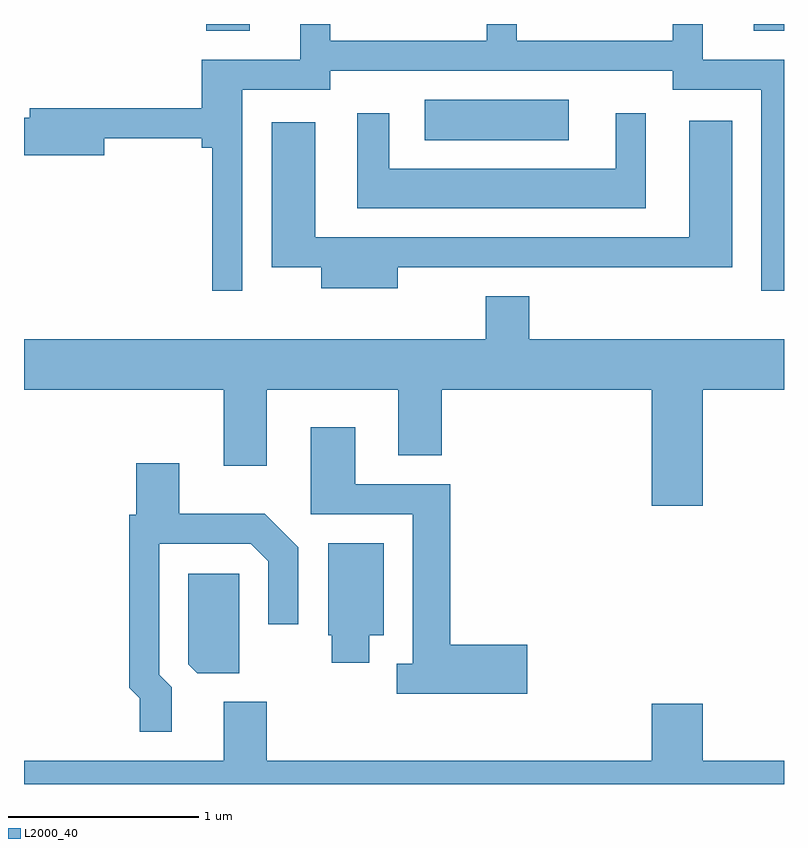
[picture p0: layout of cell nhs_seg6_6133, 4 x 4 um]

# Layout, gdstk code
import gdstk
lib = gdstk.Library(unit=1e-6, precision=1e-09)
def R(c, l, rs):  # rectangles x0, y0, x1, y1
    for r in rs: c.add(gdstk.rectangle(r[:2], r[2:], *l))
def P(c, l, *ps):  # polygons
    for p in ps: c.add(gdstk.Polygon(p, *l))
L2000_40 = (2000, 40)

nhs_seg6_6133 = lib.new_cell('nhs_seg6_6133')
R(nhs_seg6_6133, L2000_40, [(373.721,1573.551,374.479,1573.764), (372.571,1574.126,372.799,1574.162), (375.451,1574.126,375.611,1574.162)])
P(nhs_seg6_6133, L2000_40, [(372.759,1573.816),(373.224,1573.816),(373.224,1573.916),(375.026,1573.916),(375.026,1573.816),(375.491,1573.816),(375.491,1572.758),(375.611,1572.758),(375.611,1573.974),(375.184,1573.974),(375.184,1574.162),(375.026,1574.162),(375.026,1574.074),(374.204,1574.074),(374.204,1574.162),(374.046,1574.162),(374.046,1574.074),(373.224,1574.074),(373.224,1574.162),(373.066,1574.162),(373.066,1573.974),(372.546,1573.974),(372.546,1573.719),(371.641,1573.719),(371.641,1573.669),(371.611,1573.669),(371.611,1573.471),(372.034,1573.471),(372.034,1573.561),(372.546,1573.561),(372.546,1573.511),(372.601,1573.511),(372.601,1572.758),(372.759,1572.758)],
  [(374.884,1573.693),(374.726,1573.693),(374.726,1573.399),(373.534,1573.399),(373.534,1573.693),(373.366,1573.693),(373.366,1573.191),(374.884,1573.191)],
  [(373.579,1572.881),(375.339,1572.881),(375.339,1573.654),(375.111,1573.654),(375.111,1573.039),(373.144,1573.039),(373.144,1573.644),(372.916,1573.644),(372.916,1572.881),(373.176,1572.881),(373.176,1572.771),(373.579,1572.771)],
  [(375.184,1572.236),(375.611,1572.236),(375.611,1572.504),(374.269,1572.504),(374.269,1572.729),(374.041,1572.729),(374.041,1572.504),(371.611,1572.504),(371.611,1572.236),(372.661,1572.236),(372.661,1571.836),(372.889,1571.836),(372.889,1572.236),(373.581,1572.236),(373.581,1571.891),(373.809,1571.891),(373.809,1572.236),(374.916,1572.236),(374.916,1571.626),(375.184,1571.626)],
  [(374.259,1570.894),(373.854,1570.894),(373.854,1571.739),(373.354,1571.739),(373.354,1572.039),(373.121,1572.039),(373.121,1571.581),(373.656,1571.581),(373.656,1570.794),(373.573,1570.794),(373.573,1570.636),(374.259,1570.636)],
  [(372.389,1570.672),(372.324,1570.737),(372.324,1571.426),(372.804,1571.426),(372.896,1571.334),(372.896,1571.003),(373.054,1571.003),(373.054,1571.407),(372.877,1571.584),(372.429,1571.584),(372.429,1571.849),(372.201,1571.849),(372.201,1571.579),(372.166,1571.579),(372.166,1570.669),(372.221,1570.614),(372.221,1570.438),(372.389,1570.438)],
  [(373.429,1570.946),(373.504,1570.946),(373.504,1571.429),(373.211,1571.429),(373.211,1570.946),(373.231,1570.946),(373.231,1570.801),(373.429,1570.801)],
  [(372.744,1571.269),(372.476,1571.269),(372.476,1570.792),(372.522,1570.746),(372.744,1570.746)],
  [(375.611,1570.284),(375.184,1570.284),(375.184,1570.584),(374.916,1570.584),(374.916,1570.284),(372.889,1570.284),(372.889,1570.594),(372.661,1570.594),(372.661,1570.284),(371.611,1570.284),(371.611,1570.162),(375.611,1570.162)])

lib.write_gds('nhs_seg6_6133.gds')
